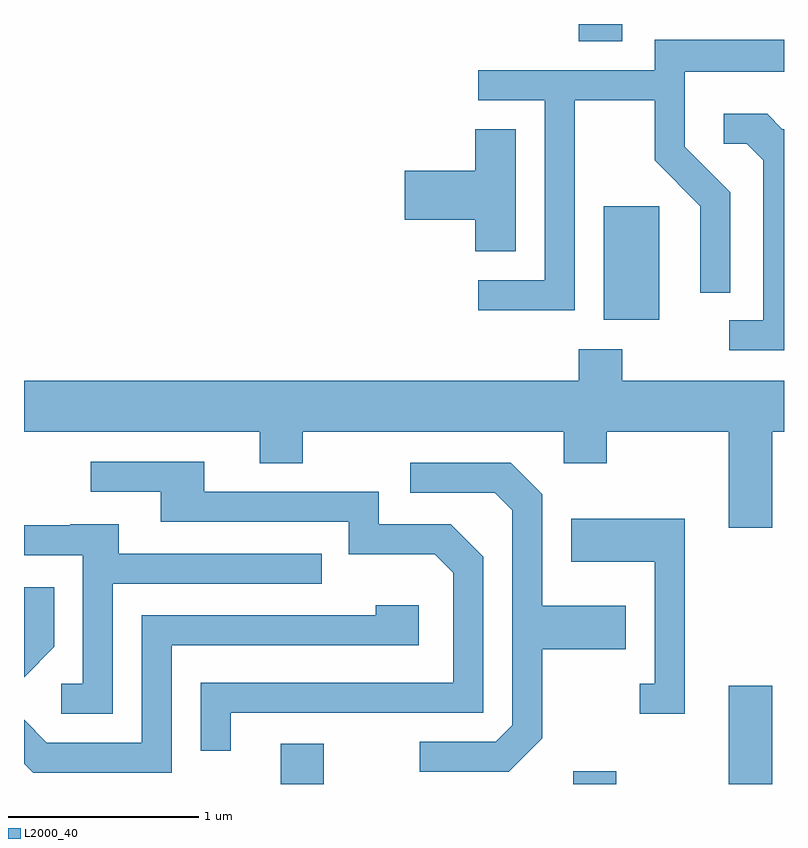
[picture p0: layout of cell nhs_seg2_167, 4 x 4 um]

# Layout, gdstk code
import gdstk
lib = gdstk.Library(unit=1e-6, precision=1e-09)
def R(c, l, rs):  # rectangles x0, y0, x1, y1
    for r in rs: c.add(gdstk.rectangle(r[:2], r[2:], *l))
def P(c, l, *ps):  # polygons
    for p in ps: c.add(gdstk.Polygon(p, *l))
L2000_40 = (2000, 40)

nhs_seg2_167 = lib.new_cell('nhs_seg2_167')
R(nhs_seg2_167, L2000_40, [(190.961,1039.802,191.189,1040.014), (192.501,1039.802,192.729,1039.869), (193.321,1039.802,193.549,1040.319), (192.661,1042.246,192.954,1042.844), (192.531,1043.711,192.759,1043.802)])
P(nhs_seg2_167, L2000_40, [(192.509,1043.401),(192.931,1043.401),(192.931,1043.084),(193.171,1042.844),(193.171,1042.388),(193.329,1042.388),(193.329,1042.917),(193.089,1043.157),(193.089,1043.551),(193.611,1043.551),(193.611,1043.719),(192.931,1043.719),(192.931,1043.559),(192.003,1043.559),(192.003,1043.401),(192.351,1043.401),(192.351,1042.454),(192.003,1042.454),(192.003,1042.296),(192.509,1042.296)],
  [(193.611,1043.249),(193.602,1043.249),(193.522,1043.329),(193.293,1043.329),(193.293,1043.171),(193.414,1043.171),(193.501,1043.084),(193.501,1042.244),(193.323,1042.244),(193.323,1042.086),(193.611,1042.086)],
  [(192.199,1043.249),(191.986,1043.249),(191.986,1043.029),(191.616,1043.029),(191.616,1042.771),(191.986,1042.771),(191.986,1042.606),(192.199,1042.606)],
  [(193.549,1041.656),(193.611,1041.656),(193.611,1041.924),(192.759,1041.924),(192.759,1042.089),(192.531,1042.089),(192.531,1041.924),(189.611,1041.924),(189.611,1041.656),(190.851,1041.656),(190.851,1041.491),(191.079,1041.491),(191.079,1041.656),(192.451,1041.656),(192.451,1041.491),(192.679,1041.491),(192.679,1041.656),(193.321,1041.656),(193.321,1041.151),(193.549,1041.151)],
  [(190.699,1040.176),(192.029,1040.176),(192.029,1040.997),(191.857,1041.169),(191.479,1041.169),(191.479,1041.339),(190.559,1041.339),(190.559,1041.499),(189.963,1041.499),(189.963,1041.341),(190.331,1041.341),(190.331,1041.181),(191.321,1041.181),(191.321,1041.011),(191.774,1041.011),(191.871,1040.914),(191.871,1040.334),(190.541,1040.334),(190.541,1039.978),(190.699,1039.978)],
  [(192.339,1040.044),(192.339,1040.511),(192.779,1040.511),(192.779,1040.739),(192.339,1040.739),(192.339,1041.327),(192.172,1041.494),(191.643,1041.494),(191.643,1041.336),(192.089,1041.336),(192.181,1041.244),(192.181,1040.112),(192.094,1040.024),(191.693,1040.024),(191.693,1039.866),(192.162,1039.866)],
  [(193.089,1041.199),(192.491,1041.199),(192.491,1040.971),(192.931,1040.971),(192.931,1040.329),(192.853,1040.329),(192.853,1040.171),(193.089,1040.171)],
  [(190.079,1040.856),(191.178,1040.856),(191.178,1041.014),(190.109,1041.014),(190.109,1041.169),(189.855,1041.169),(189.855,1041.164),(189.611,1041.164),(189.611,1041.006),(189.921,1041.006),(189.921,1040.329),(189.808,1040.329),(189.808,1040.171),(190.079,1040.171)],
  [(189.769,1040.524),(189.769,1040.838),(189.611,1040.838),(189.611,1040.365)],
  [(190.389,1040.531),(191.689,1040.531),(191.689,1040.744),(191.461,1040.744),(191.461,1040.689),(190.231,1040.689),(190.231,1040.019),(189.732,1040.019),(189.611,1040.14),(189.611,1039.909),(189.659,1039.861),(190.389,1039.861)])

lib.write_gds('nhs_seg2_167.gds')
